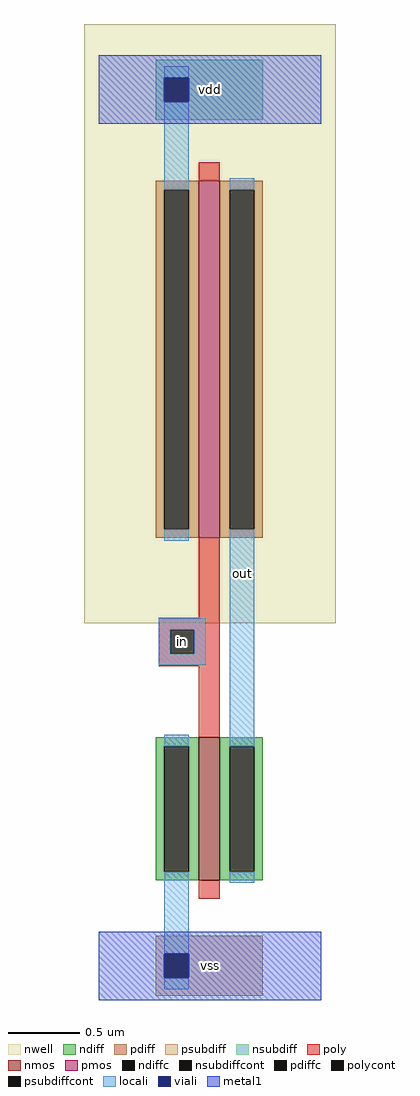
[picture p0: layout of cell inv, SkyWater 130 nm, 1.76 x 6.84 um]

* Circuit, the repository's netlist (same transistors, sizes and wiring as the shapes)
* NGSPICE file created from inv.ext - technology: sky130A

.subckt inv in out vdd vss
X0 out in vdd vdd sky130_fd_pr__pfet_01v8 ad=0.75 pd=5.6 as=0.75 ps=5.6 w=2.5 l=0.15
X1 out in vss vss sky130_fd_pr__nfet_01v8 ad=0.3 pd=2.6 as=0.3 ps=2.6 w=1 l=0.15
.ends

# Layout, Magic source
magic
tech sky130A
magscale 1 2
<< nwell >>
rect -20 480 332 1320
<< nmos >>
rect 140 120 170 320
<< pmos >>
rect 140 600 170 1100
<< ndiff >>
rect 80 308 140 320
rect 80 132 92 308
rect 126 132 140 308
rect 80 120 140 132
rect 170 308 230 320
rect 170 132 184 308
rect 218 132 230 308
rect 170 120 230 132
<< pdiff >>
rect 80 1088 140 1100
rect 80 612 92 1088
rect 126 612 140 1088
rect 80 600 140 612
rect 170 1088 230 1100
rect 170 612 184 1088
rect 218 612 230 1088
rect 170 600 230 612
<< ndiffc >>
rect 92 132 126 308
rect 184 132 218 308
<< pdiffc >>
rect 92 612 126 1088
rect 184 612 218 1088
<< psubdiff >>
rect 80 17 230 42
rect 80 -17 92 17
rect 126 -17 230 17
rect 80 -42 230 -17
<< nsubdiff >>
rect 80 1245 230 1270
rect 80 1211 92 1245
rect 126 1211 230 1245
rect 80 1186 230 1211
<< psubdiffcont >>
rect 92 -17 126 17
<< nsubdiffcont >>
rect 92 1211 126 1245
<< poly >>
rect 140 1100 170 1126
rect 140 488 170 600
rect 84 471 170 488
rect 84 437 100 471
rect 134 437 170 471
rect 84 420 170 437
rect 140 320 170 420
rect 140 94 170 120
<< polycont >>
rect 100 437 134 471
<< locali >>
rect 92 1245 126 1261
rect 92 1088 126 1211
rect 92 596 126 612
rect 184 1088 218 1104
rect 84 471 150 487
rect 84 437 100 471
rect 134 437 150 471
rect 84 421 150 437
rect 92 308 126 324
rect 92 17 126 132
rect 184 308 218 612
rect 184 116 218 132
rect 92 -33 126 -17
<< viali >>
rect 92 1211 126 1245
rect 92 -17 126 17
<< metal1 >>
rect 0 1245 312 1276
rect 0 1211 92 1245
rect 126 1211 312 1245
rect 0 1180 312 1211
rect 0 17 312 48
rect 0 -17 92 17
rect 126 -17 312 17
rect 0 -48 312 -17
<< labels >>
rlabel locali 84 421 150 487 0 in
port 1 nsew signal input
rlabel locali 184 520 218 580 0 out
port 2 nsew signal output
rlabel metal1 0 1180 312 1276 0 vdd
port 3 nsew signal bidirectional
rlabel metal1 0 -48 312 48 0 vss
port 4 nsew signal bidirectional
<< end >>
